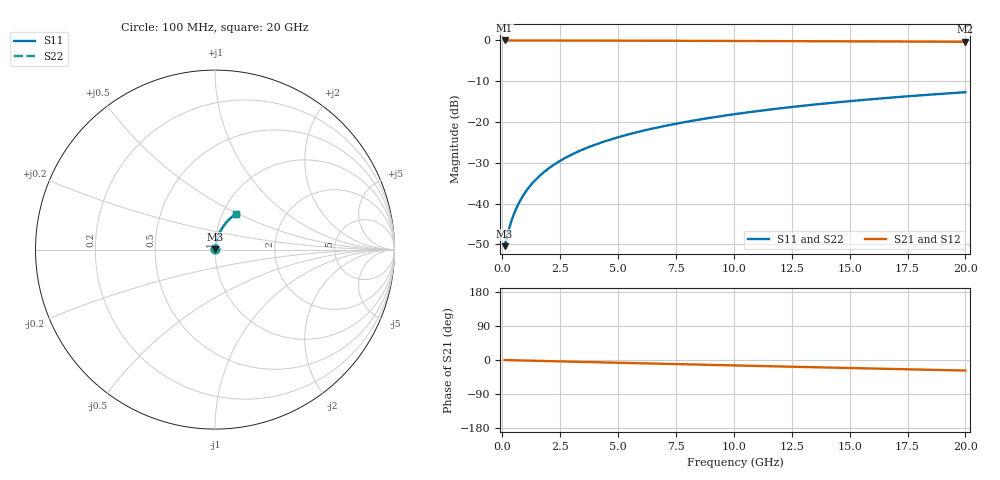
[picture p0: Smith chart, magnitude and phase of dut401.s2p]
! Touchstone file exported from HFSS 2026.1.0
!  File:  C:/ffzhzh/LocalFiles/Ansys_Project_Files/temp_train_TMRDL_401_1783004913_46388.aedt
!  Generated:  11:09:48 PM Jul  2, 2026
!  Design:  TMRDL
!  Project:  temp_train_TMRDL_401_1783004913_46388
! Variables:
!  h_bsmrdl = 2um
!  h_ox = 20um
!  h_rdl = 5um
!  h_sub = 80um
!  h_tmrdl = 5.71um
!  h_tsv = 80um
!  h_via = 3um
!  l_bsmrdl = 300um
!  l_sub = 838.51um
!  l_tmrdl = 438.51um
!  m_sub = 200um
!  pitch = 25.17um
!  r_tsv = 6um
!  s_tmrdl = 10um
!  w_bsmrdl = 18um
!  w_sub = 500um
!  w_tmrdl = 10.56um
!  x_tsv_center1 = 443.79um
!  x_tsv_center2 = 761.79um
!  x_tsv_center3 = 1210.86um
!  x_tsv_center4 = 1528.86um
!  x_tsv_center5 = 1977.93um
!  x_tsv_center6 = 2295.93um
# GHz S MA R 50.000000
! Terminal data exported
! Port[1] = TM_RDL1_1_T1
! Port[2] = TM_RDL1_1_T2
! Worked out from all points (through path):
!   200 points, 100 MHz to 20 GHz, reference 50 ohm
!   highest |S21| = -0.02 dB at 100 MHz (marker M1); lowest = -0.3 dB at 20 GHz (marker M2)
!   group delay of S21, straight-line fit = 3.86 ps
!   lowest |S11| = -50.4 dB at 100 MHz (marker M3), VSWR 1.01, Z = 50.3 + j0.146 ohm
!   |S11| at or under -10 dB: start of sweep to end of sweep
!   |S22| runs from -50.4 to -12.7 dB; largest |S21 - S12| = 3.5e-15
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0.1  0.003014 28.7  0.9974 -0.2  0.9974 -0.2  0.003014 28.7
! Gamma 0 0 0 0
! Port Impedance 50 0 50 0
0.3  0.005029 55.9  0.9972 -0.5  0.9972 -0.5  0.005029 55.9
0.4  0.006205 62.2  0.9971 -0.6  0.9971 -0.6  0.006204 62.2
0.5  0.00743 66.5  0.997 -0.8  0.997 -0.8  0.007429 66.5
0.6  0.008686 69.5  0.997 -0.9  0.997 -0.9  0.008686 69.5
0.7  0.009964 71.8  0.9969 -1.1  0.9969 -1.1  0.009963 71.8
0.9  0.01256 74.8  0.9968 -1.3  0.9968 -1.3  0.01256 74.8
1.2  0.01649 77.2  0.9966 -1.8  0.9966 -1.8  0.01649 77.2
1.4  0.01912 78.2  0.9965 -2.1  0.9965 -2.1  0.01912 78.2
1.7  0.02306 79.0  0.9963 -2.5  0.9963 -2.5  0.02306 79.0
2.2  0.0296 79.6  0.9958 -3.3  0.9958 -3.3  0.0296 79.6
2.8  0.03737 79.5  0.9952 -4.1  0.9952 -4.1  0.03737 79.5
3.5  0.0463 79.1  0.9943 -5.2  0.9943 -5.2  0.0463 79.1
4.2  0.05511 78.5  0.9933 -6.2  0.9933 -6.2  0.05511 78.5
5  0.06503 77.6  0.9922 -7.3  0.9922 -7.3  0.06503 77.6
5.9  0.07603 76.6  0.9907 -8.6  0.9907 -8.6  0.07603 76.6
6.8  0.08687 75.6  0.9893 -9.9  0.9893 -9.9  0.08687 75.6
8.3  0.1047 73.8  0.9867 -12.0  0.9867 -12.0  0.1047 73.8
10.1  0.1255 71.6  0.9834 -14.5  0.9834 -14.5  0.1255 71.6
13.4  0.1626 67.5  0.9767 -19.0  0.9767 -19.0  0.1626 67.5
16.7  0.1981 63.3  0.9692 -23.5  0.9692 -23.5  0.1981 63.3
20  0.2317 59.2  0.9609 -27.9  0.9609 -27.9  0.2317 59.2
